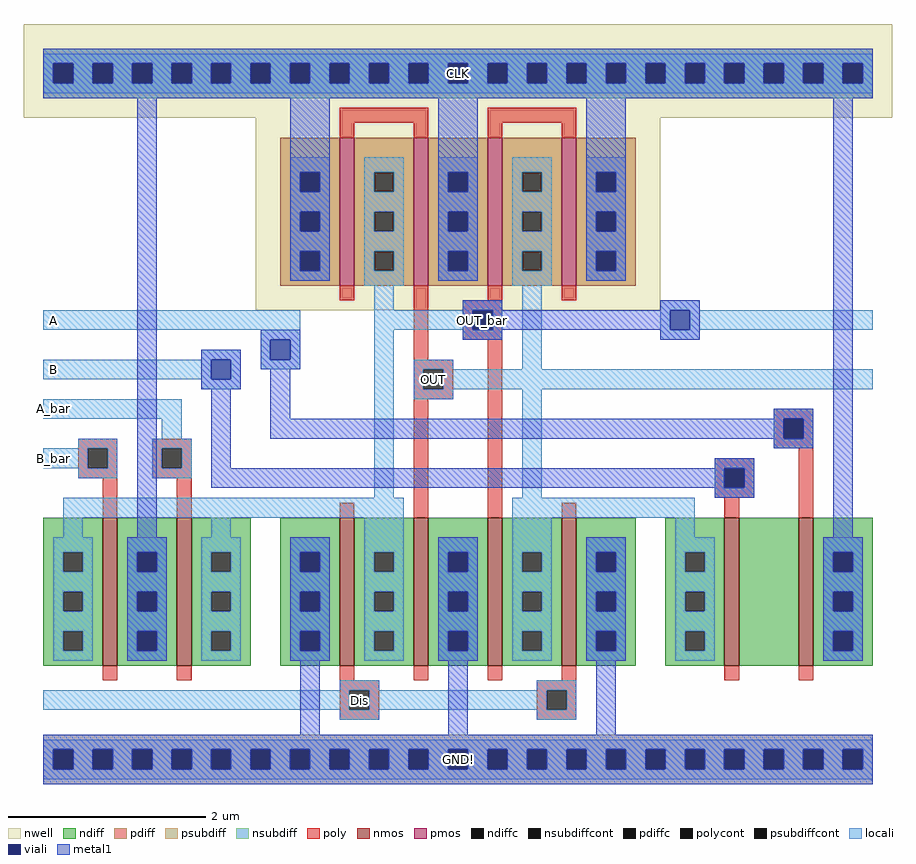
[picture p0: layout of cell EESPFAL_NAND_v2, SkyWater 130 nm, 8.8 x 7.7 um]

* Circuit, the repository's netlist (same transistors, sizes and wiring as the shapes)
* SPICE3 file created from EESPFAL_NAND_v2.ext - technology: sky130A

.subckt EESPFAL_NAND_v2 A A_bar B B_bar OUT OUT_bar Dis GND CLK
X0 CLK A a_1110_410# GND sky130_fd_pr__nfet_01v8 ad=6e+12p pd=2.62e+07u as=0p ps=0u w=1.5e+06u l=150000u
X1 CLK OUT OUT_bar CLK sky130_fd_pr__pfet_01v8 ad=2.7e+12p pd=1.26e+07u as=9e+11p ps=4.2e+06u w=1.5e+06u l=150000u M=2
X2 OUT OUT_bar CLK CLK sky130_fd_pr__pfet_01v8 ad=9e+11p pd=4.2e+06u as=0p ps=0u w=1.5e+06u l=150000u M=2
X3 OUT_bar A_bar CLK GND sky130_fd_pr__nfet_01v8 ad=2.7e+12p pd=1.26e+07u as=0p ps=0u w=1.5e+06u l=150000u
X4 a_1110_410# B OUT GND sky130_fd_pr__nfet_01v8 ad=0p pd=0u as=1.8e+12p ps=8.4e+06u w=1.5e+06u l=150000u
X5 OUT_bar Dis GND GND sky130_fd_pr__nfet_01v8 ad=0p pd=0u as=2.7e+12p ps=1.26e+07u w=1.5e+06u l=150000u
X6 OUT OUT_bar GND GND sky130_fd_pr__nfet_01v8 ad=0p pd=0u as=0p ps=0u w=1.5e+06u l=150000u
X7 GND OUT OUT_bar GND sky130_fd_pr__nfet_01v8 ad=0p pd=0u as=0p ps=0u w=1.5e+06u l=150000u
X8 CLK B_bar OUT_bar GND sky130_fd_pr__nfet_01v8 ad=0p pd=0u as=0p ps=0u w=1.5e+06u l=150000u
X9 GND Dis OUT GND sky130_fd_pr__nfet_01v8 ad=0p pd=0u as=0p ps=0u w=1.5e+06u l=150000u
.ends

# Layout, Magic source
magic
tech sky130A
<< nwell >>
rect -170 760 710 855
rect 65 565 475 760
<< nmos >>
rect -90 205 -75 355
rect -15 205 0 355
rect 150 205 165 355
rect 225 205 240 355
rect 300 205 315 355
rect 375 205 390 355
rect 540 205 555 355
rect 615 205 630 355
<< pmos >>
rect 150 590 165 740
rect 225 590 240 740
rect 300 590 315 740
rect 375 590 390 740
<< ndiff >>
rect -150 320 -90 355
rect -150 300 -130 320
rect -110 300 -90 320
rect -150 280 -90 300
rect -150 260 -130 280
rect -110 260 -90 280
rect -150 240 -90 260
rect -150 220 -130 240
rect -110 220 -90 240
rect -150 205 -90 220
rect -75 320 -15 355
rect -75 300 -55 320
rect -35 300 -15 320
rect -75 280 -15 300
rect -75 260 -55 280
rect -35 260 -15 280
rect -75 240 -15 260
rect -75 220 -55 240
rect -35 220 -15 240
rect -75 205 -15 220
rect 0 320 60 355
rect 0 300 20 320
rect 40 300 60 320
rect 0 280 60 300
rect 0 260 20 280
rect 40 260 60 280
rect 0 240 60 260
rect 0 220 20 240
rect 40 220 60 240
rect 0 205 60 220
rect 90 320 150 355
rect 90 300 110 320
rect 130 300 150 320
rect 90 280 150 300
rect 90 260 110 280
rect 130 260 150 280
rect 90 240 150 260
rect 90 220 110 240
rect 130 220 150 240
rect 90 205 150 220
rect 165 320 225 355
rect 165 300 185 320
rect 205 300 225 320
rect 165 280 225 300
rect 165 260 185 280
rect 205 260 225 280
rect 165 240 225 260
rect 165 220 185 240
rect 205 220 225 240
rect 165 205 225 220
rect 240 320 300 355
rect 240 300 260 320
rect 280 300 300 320
rect 240 280 300 300
rect 240 260 260 280
rect 280 260 300 280
rect 240 240 300 260
rect 240 220 260 240
rect 280 220 300 240
rect 240 205 300 220
rect 315 320 375 355
rect 315 300 335 320
rect 355 300 375 320
rect 315 280 375 300
rect 315 260 335 280
rect 355 260 375 280
rect 315 240 375 260
rect 315 220 335 240
rect 355 220 375 240
rect 315 205 375 220
rect 390 320 450 355
rect 390 300 410 320
rect 430 300 450 320
rect 390 280 450 300
rect 390 260 410 280
rect 430 260 450 280
rect 390 240 450 260
rect 390 220 410 240
rect 430 220 450 240
rect 390 205 450 220
rect 480 320 540 355
rect 480 300 500 320
rect 520 300 540 320
rect 480 280 540 300
rect 480 260 500 280
rect 520 260 540 280
rect 480 240 540 260
rect 480 220 500 240
rect 520 220 540 240
rect 480 205 540 220
rect 555 205 615 355
rect 630 320 690 355
rect 630 300 650 320
rect 670 300 690 320
rect 630 280 690 300
rect 630 260 650 280
rect 670 260 690 280
rect 630 240 690 260
rect 630 220 650 240
rect 670 220 690 240
rect 630 205 690 220
<< pdiff >>
rect 90 705 150 740
rect 90 685 110 705
rect 130 685 150 705
rect 90 665 150 685
rect 90 645 110 665
rect 130 645 150 665
rect 90 625 150 645
rect 90 605 110 625
rect 130 605 150 625
rect 90 590 150 605
rect 165 705 225 740
rect 165 685 185 705
rect 205 685 225 705
rect 165 665 225 685
rect 165 645 185 665
rect 205 645 225 665
rect 165 625 225 645
rect 165 605 185 625
rect 205 605 225 625
rect 165 590 225 605
rect 240 705 300 740
rect 240 685 260 705
rect 280 685 300 705
rect 240 665 300 685
rect 240 645 260 665
rect 280 645 300 665
rect 240 625 300 645
rect 240 605 260 625
rect 280 605 300 625
rect 240 590 300 605
rect 315 705 375 740
rect 315 685 335 705
rect 355 685 375 705
rect 315 665 375 685
rect 315 645 335 665
rect 355 645 375 665
rect 315 625 375 645
rect 315 605 335 625
rect 355 605 375 625
rect 315 590 375 605
rect 390 705 450 740
rect 390 685 410 705
rect 430 685 450 705
rect 390 665 450 685
rect 390 645 410 665
rect 430 645 450 665
rect 390 625 450 645
rect 390 605 410 625
rect 430 605 450 625
rect 390 590 450 605
<< ndiffc >>
rect -130 300 -110 320
rect -130 260 -110 280
rect -130 220 -110 240
rect -55 300 -35 320
rect -55 260 -35 280
rect -55 220 -35 240
rect 20 300 40 320
rect 20 260 40 280
rect 20 220 40 240
rect 110 300 130 320
rect 110 260 130 280
rect 110 220 130 240
rect 185 300 205 320
rect 185 260 205 280
rect 185 220 205 240
rect 260 300 280 320
rect 260 260 280 280
rect 260 220 280 240
rect 335 300 355 320
rect 335 260 355 280
rect 335 220 355 240
rect 410 300 430 320
rect 410 260 430 280
rect 410 220 430 240
rect 500 300 520 320
rect 500 260 520 280
rect 500 220 520 240
rect 650 300 670 320
rect 650 260 670 280
rect 650 220 670 240
<< pdiffc >>
rect 110 685 130 705
rect 110 645 130 665
rect 110 605 130 625
rect 185 685 205 705
rect 185 645 205 665
rect 185 605 205 625
rect 260 685 280 705
rect 260 645 280 665
rect 260 605 280 625
rect 335 685 355 705
rect 335 645 355 665
rect 335 605 355 625
rect 410 685 430 705
rect 410 645 430 665
rect 410 605 430 625
<< psubdiff >>
rect -150 120 690 135
rect -150 100 -140 120
rect -120 100 -100 120
rect -80 100 -60 120
rect -40 100 -20 120
rect 0 100 20 120
rect 40 100 60 120
rect 80 100 100 120
rect 120 100 140 120
rect 160 100 180 120
rect 200 100 220 120
rect 240 100 260 120
rect 280 100 300 120
rect 320 100 340 120
rect 360 100 380 120
rect 400 100 420 120
rect 440 100 460 120
rect 480 100 500 120
rect 520 100 540 120
rect 560 100 580 120
rect 600 100 620 120
rect 640 100 660 120
rect 680 100 690 120
rect -150 85 690 100
<< nsubdiff >>
rect -150 815 690 830
rect -150 795 -140 815
rect -120 795 -100 815
rect -80 795 -60 815
rect -40 795 -20 815
rect 0 795 20 815
rect 40 795 60 815
rect 80 795 100 815
rect 120 795 140 815
rect 160 795 180 815
rect 200 795 220 815
rect 240 795 260 815
rect 280 795 300 815
rect 320 795 340 815
rect 360 795 380 815
rect 400 795 420 815
rect 440 795 460 815
rect 480 795 500 815
rect 520 795 540 815
rect 560 795 580 815
rect 600 795 620 815
rect 640 795 660 815
rect 680 795 690 815
rect -150 780 690 795
<< psubdiffcont >>
rect -140 100 -120 120
rect -100 100 -80 120
rect -60 100 -40 120
rect -20 100 0 120
rect 20 100 40 120
rect 60 100 80 120
rect 100 100 120 120
rect 140 100 160 120
rect 180 100 200 120
rect 220 100 240 120
rect 260 100 280 120
rect 300 100 320 120
rect 340 100 360 120
rect 380 100 400 120
rect 420 100 440 120
rect 460 100 480 120
rect 500 100 520 120
rect 540 100 560 120
rect 580 100 600 120
rect 620 100 640 120
rect 660 100 680 120
<< nsubdiffcont >>
rect -140 795 -120 815
rect -100 795 -80 815
rect -60 795 -40 815
rect -20 795 0 815
rect 20 795 40 815
rect 60 795 80 815
rect 100 795 120 815
rect 140 795 160 815
rect 180 795 200 815
rect 220 795 240 815
rect 260 795 280 815
rect 300 795 320 815
rect 340 795 360 815
rect 380 795 400 815
rect 420 795 440 815
rect 460 795 480 815
rect 500 795 520 815
rect 540 795 560 815
rect 580 795 600 815
rect 620 795 640 815
rect 660 795 680 815
<< poly >>
rect 150 755 240 770
rect 150 740 165 755
rect 225 740 240 755
rect 300 755 390 770
rect 300 740 315 755
rect 375 740 390 755
rect 150 575 165 590
rect 225 515 240 590
rect 300 575 315 590
rect 375 575 390 590
rect 275 565 315 575
rect 275 545 285 565
rect 305 545 315 565
rect 275 535 315 545
rect 225 505 265 515
rect 225 485 235 505
rect 255 485 265 505
rect 225 475 265 485
rect -115 425 -75 435
rect -115 405 -105 425
rect -85 405 -75 425
rect -115 395 -75 405
rect -40 425 0 435
rect -40 405 -30 425
rect -10 405 0 425
rect -40 395 0 405
rect -90 355 -75 395
rect -15 355 0 395
rect 150 355 165 370
rect 225 355 240 475
rect 300 355 315 535
rect 590 455 630 465
rect 590 435 600 455
rect 620 435 630 455
rect 590 425 630 435
rect 530 405 570 415
rect 530 385 540 405
rect 560 385 570 405
rect 530 375 570 385
rect 375 355 390 370
rect 540 355 555 375
rect 615 355 630 425
rect -90 190 -75 205
rect -15 190 0 205
rect 150 190 165 205
rect 225 190 240 205
rect 300 190 315 205
rect 375 190 390 205
rect 540 190 555 205
rect 615 190 630 205
rect 150 180 190 190
rect 150 160 160 180
rect 180 160 190 180
rect 150 150 190 160
rect 350 180 390 190
rect 350 160 360 180
rect 380 160 390 180
rect 350 150 390 160
<< polycont >>
rect 285 545 305 565
rect 235 485 255 505
rect -105 405 -85 425
rect -30 405 -10 425
rect 600 435 620 455
rect 540 385 560 405
rect 160 160 180 180
rect 360 160 380 180
<< locali >>
rect -150 815 690 825
rect -150 795 -140 815
rect -120 795 -100 815
rect -80 795 -60 815
rect -40 795 -20 815
rect 0 795 20 815
rect 40 795 60 815
rect 80 795 100 815
rect 120 795 140 815
rect 160 795 180 815
rect 200 795 220 815
rect 240 795 260 815
rect 280 795 300 815
rect 320 795 340 815
rect 360 795 380 815
rect 400 795 420 815
rect 440 795 460 815
rect 480 795 500 815
rect 520 795 540 815
rect 560 795 580 815
rect 600 795 620 815
rect 640 795 660 815
rect 680 795 690 815
rect -150 785 690 795
rect 100 705 140 720
rect 100 685 110 705
rect 130 685 140 705
rect 100 665 140 685
rect 100 645 110 665
rect 130 645 140 665
rect 100 625 140 645
rect 100 605 110 625
rect 130 605 140 625
rect 100 595 140 605
rect 175 705 215 720
rect 175 685 185 705
rect 205 685 215 705
rect 175 665 215 685
rect 175 645 185 665
rect 205 645 215 665
rect 175 625 215 645
rect 175 605 185 625
rect 205 605 215 625
rect 175 590 215 605
rect 250 705 290 720
rect 250 685 260 705
rect 280 685 290 705
rect 250 665 290 685
rect 250 645 260 665
rect 280 645 290 665
rect 250 625 290 645
rect 250 605 260 625
rect 280 605 290 625
rect 250 595 290 605
rect 325 705 365 720
rect 325 685 335 705
rect 355 685 365 705
rect 325 665 365 685
rect 325 645 335 665
rect 355 645 365 665
rect 325 625 365 645
rect 325 605 335 625
rect 355 605 365 625
rect 325 590 365 605
rect 400 705 440 720
rect 400 685 410 705
rect 430 685 440 705
rect 400 665 440 685
rect 400 645 410 665
rect 430 645 440 665
rect 400 625 440 645
rect 400 605 410 625
rect 430 605 440 625
rect 400 595 440 605
rect 185 565 205 590
rect 275 565 315 575
rect -150 545 110 565
rect 70 535 110 545
rect 10 515 50 525
rect -150 495 20 515
rect 40 495 50 515
rect 70 515 80 535
rect 100 515 110 535
rect 70 505 110 515
rect 185 545 285 565
rect 305 545 315 565
rect 10 485 50 495
rect -150 455 -10 475
rect -30 435 -10 455
rect -115 425 -75 435
rect -150 405 -105 425
rect -85 405 -75 425
rect -115 395 -75 405
rect -40 425 0 435
rect -40 405 -30 425
rect -10 405 0 425
rect -40 395 0 405
rect 185 375 205 545
rect 275 535 315 545
rect 225 505 265 515
rect 335 505 355 590
rect 475 565 515 575
rect 475 545 485 565
rect 505 545 690 565
rect 475 535 515 545
rect 225 485 235 505
rect 255 485 690 505
rect 225 475 265 485
rect 335 375 355 485
rect 590 455 630 465
rect 590 435 600 455
rect 620 435 630 455
rect 590 425 630 435
rect 530 405 570 415
rect 530 385 540 405
rect 560 385 570 405
rect 530 375 570 385
rect -130 355 215 375
rect -130 335 -110 355
rect 20 335 40 355
rect -140 320 -100 335
rect -140 300 -130 320
rect -110 300 -100 320
rect -140 280 -100 300
rect -140 260 -130 280
rect -110 260 -100 280
rect -140 240 -100 260
rect -140 220 -130 240
rect -110 220 -100 240
rect -140 210 -100 220
rect -65 320 -25 335
rect -65 300 -55 320
rect -35 300 -25 320
rect -65 280 -25 300
rect -65 260 -55 280
rect -35 260 -25 280
rect -65 240 -25 260
rect -65 220 -55 240
rect -35 220 -25 240
rect -65 210 -25 220
rect 10 320 50 335
rect 10 300 20 320
rect 40 300 50 320
rect 10 280 50 300
rect 10 260 20 280
rect 40 260 50 280
rect 10 240 50 260
rect 10 220 20 240
rect 40 220 50 240
rect 10 210 50 220
rect 100 320 140 335
rect 100 300 110 320
rect 130 300 140 320
rect 100 280 140 300
rect 100 260 110 280
rect 130 260 140 280
rect 100 240 140 260
rect 100 220 110 240
rect 130 220 140 240
rect 100 210 140 220
rect 175 320 215 355
rect 325 355 510 375
rect 175 300 185 320
rect 205 300 215 320
rect 175 280 215 300
rect 175 260 185 280
rect 205 260 215 280
rect 175 240 215 260
rect 175 220 185 240
rect 205 220 215 240
rect 175 210 215 220
rect 250 320 290 335
rect 250 300 260 320
rect 280 300 290 320
rect 250 280 290 300
rect 250 260 260 280
rect 280 260 290 280
rect 250 240 290 260
rect 250 220 260 240
rect 280 220 290 240
rect 250 210 290 220
rect 325 320 365 355
rect 490 335 510 355
rect 325 300 335 320
rect 355 300 365 320
rect 325 280 365 300
rect 325 260 335 280
rect 355 260 365 280
rect 325 240 365 260
rect 325 220 335 240
rect 355 220 365 240
rect 325 210 365 220
rect 400 320 440 335
rect 400 300 410 320
rect 430 300 440 320
rect 400 280 440 300
rect 400 260 410 280
rect 430 260 440 280
rect 400 240 440 260
rect 400 220 410 240
rect 430 220 440 240
rect 400 210 440 220
rect 490 320 530 335
rect 490 300 500 320
rect 520 300 530 320
rect 490 280 530 300
rect 490 260 500 280
rect 520 260 530 280
rect 490 240 530 260
rect 490 220 500 240
rect 520 220 530 240
rect 490 210 530 220
rect 640 320 680 335
rect 640 300 650 320
rect 670 300 680 320
rect 640 280 680 300
rect 640 260 650 280
rect 670 260 680 280
rect 640 240 680 260
rect 640 220 650 240
rect 670 220 680 240
rect 640 210 680 220
rect 150 180 190 190
rect 350 180 390 190
rect -150 160 160 180
rect 180 160 360 180
rect 380 160 390 180
rect 150 150 190 160
rect 350 150 390 160
rect -150 120 690 130
rect -150 100 -140 120
rect -120 100 -100 120
rect -80 100 -60 120
rect -40 100 -20 120
rect 0 100 20 120
rect 40 100 60 120
rect 80 100 100 120
rect 120 100 140 120
rect 160 100 180 120
rect 200 100 220 120
rect 240 100 260 120
rect 280 100 300 120
rect 320 100 340 120
rect 360 100 380 120
rect 400 100 420 120
rect 440 100 460 120
rect 480 100 500 120
rect 520 100 540 120
rect 560 100 580 120
rect 600 100 620 120
rect 640 100 660 120
rect 680 100 690 120
rect -150 90 690 100
<< viali >>
rect -140 795 -120 815
rect -100 795 -80 815
rect -60 795 -40 815
rect -20 795 0 815
rect 20 795 40 815
rect 60 795 80 815
rect 100 795 120 815
rect 140 795 160 815
rect 180 795 200 815
rect 220 795 240 815
rect 260 795 280 815
rect 300 795 320 815
rect 340 795 360 815
rect 380 795 400 815
rect 420 795 440 815
rect 460 795 480 815
rect 500 795 520 815
rect 540 795 560 815
rect 580 795 600 815
rect 620 795 640 815
rect 660 795 680 815
rect 110 685 130 705
rect 110 645 130 665
rect 110 605 130 625
rect 260 685 280 705
rect 260 645 280 665
rect 260 605 280 625
rect 410 685 430 705
rect 410 645 430 665
rect 410 605 430 625
rect 20 495 40 515
rect 80 515 100 535
rect 285 545 305 565
rect 485 545 505 565
rect 600 435 620 455
rect 540 385 560 405
rect -55 300 -35 320
rect -55 260 -35 280
rect -55 220 -35 240
rect 110 300 130 320
rect 110 260 130 280
rect 110 220 130 240
rect 260 300 280 320
rect 260 260 280 280
rect 260 220 280 240
rect 410 300 430 320
rect 410 260 430 280
rect 410 220 430 240
rect 650 300 670 320
rect 650 260 670 280
rect 650 220 670 240
rect -140 100 -120 120
rect -100 100 -80 120
rect -60 100 -40 120
rect -20 100 0 120
rect 20 100 40 120
rect 60 100 80 120
rect 100 100 120 120
rect 140 100 160 120
rect 180 100 200 120
rect 220 100 240 120
rect 260 100 280 120
rect 300 100 320 120
rect 340 100 360 120
rect 380 100 400 120
rect 420 100 440 120
rect 460 100 480 120
rect 500 100 520 120
rect 540 100 560 120
rect 580 100 600 120
rect 620 100 640 120
rect 660 100 680 120
<< metal1 >>
rect -150 815 690 830
rect -150 795 -140 815
rect -120 795 -100 815
rect -80 795 -60 815
rect -40 795 -20 815
rect 0 795 20 815
rect 40 795 60 815
rect 80 795 100 815
rect 120 795 140 815
rect 160 795 180 815
rect 200 795 220 815
rect 240 795 260 815
rect 280 795 300 815
rect 320 795 340 815
rect 360 795 380 815
rect 400 795 420 815
rect 440 795 460 815
rect 480 795 500 815
rect 520 795 540 815
rect 560 795 580 815
rect 600 795 620 815
rect 640 795 660 815
rect 680 795 690 815
rect -150 780 690 795
rect -55 335 -35 780
rect 100 705 140 780
rect 100 685 110 705
rect 130 685 140 705
rect 100 665 140 685
rect 100 645 110 665
rect 130 645 140 665
rect 100 625 140 645
rect 100 605 110 625
rect 130 605 140 625
rect 100 595 140 605
rect 250 705 290 780
rect 250 685 260 705
rect 280 685 290 705
rect 250 665 290 685
rect 250 645 260 665
rect 280 645 290 665
rect 250 625 290 645
rect 250 605 260 625
rect 280 605 290 625
rect 250 595 290 605
rect 400 705 440 780
rect 400 685 410 705
rect 430 685 440 705
rect 400 665 440 685
rect 400 645 410 665
rect 430 645 440 665
rect 400 625 440 645
rect 400 605 410 625
rect 430 605 440 625
rect 400 595 440 605
rect 275 565 315 575
rect 475 565 515 575
rect 275 545 285 565
rect 305 545 485 565
rect 505 545 515 565
rect 70 535 110 545
rect 275 535 315 545
rect 475 535 515 545
rect 10 515 50 525
rect 10 495 20 515
rect 40 495 50 515
rect 70 515 80 535
rect 100 515 110 535
rect 70 505 110 515
rect 10 485 50 495
rect 20 405 40 485
rect 80 455 100 505
rect 590 455 630 465
rect 80 435 600 455
rect 620 435 630 455
rect 590 425 630 435
rect 530 405 570 415
rect 20 385 540 405
rect 560 385 570 405
rect 530 375 570 385
rect 650 335 670 780
rect -65 320 -25 335
rect -65 300 -55 320
rect -35 300 -25 320
rect -65 280 -25 300
rect -65 260 -55 280
rect -35 260 -25 280
rect -65 240 -25 260
rect -65 220 -55 240
rect -35 220 -25 240
rect -65 210 -25 220
rect 100 320 140 335
rect 100 300 110 320
rect 130 300 140 320
rect 100 280 140 300
rect 100 260 110 280
rect 130 260 140 280
rect 100 240 140 260
rect 100 220 110 240
rect 130 220 140 240
rect 100 210 140 220
rect 250 320 290 335
rect 250 300 260 320
rect 280 300 290 320
rect 250 280 290 300
rect 250 260 260 280
rect 280 260 290 280
rect 250 240 290 260
rect 250 220 260 240
rect 280 220 290 240
rect 250 210 290 220
rect 400 320 440 335
rect 400 300 410 320
rect 430 300 440 320
rect 400 280 440 300
rect 400 260 410 280
rect 430 260 440 280
rect 400 240 440 260
rect 400 220 410 240
rect 430 220 440 240
rect 400 210 440 220
rect 640 320 680 335
rect 640 300 650 320
rect 670 300 680 320
rect 640 280 680 300
rect 640 260 650 280
rect 670 260 680 280
rect 640 240 680 260
rect 640 220 650 240
rect 670 220 680 240
rect 640 210 680 220
rect 110 135 130 210
rect 260 135 280 210
rect 410 135 430 210
rect -150 120 690 135
rect -150 100 -140 120
rect -120 100 -100 120
rect -80 100 -60 120
rect -40 100 -20 120
rect 0 100 20 120
rect 40 100 60 120
rect 80 100 100 120
rect 120 100 140 120
rect 160 100 180 120
rect 200 100 220 120
rect 240 100 260 120
rect 280 100 300 120
rect 320 100 340 120
rect 360 100 380 120
rect 400 100 420 120
rect 440 100 460 120
rect 480 100 500 120
rect 520 100 540 120
rect 560 100 580 120
rect 600 100 620 120
rect 640 100 660 120
rect 680 100 690 120
rect -150 85 690 100
<< labels >>
rlabel locali -145 550 -135 560 7 A
port 1 w
rlabel locali -145 500 -135 510 7 B
port 3 w
rlabel locali -145 410 -135 420 7 B_bar
port 4 w
rlabel locali -145 460 -135 470 7 A_bar
port 2 w
rlabel viali 285 545 305 565 7 OUT_bar
port 6 w
rlabel locali 235 485 255 505 7 OUT
port 5 w
rlabel locali 160 160 180 180 7 Dis
port 7 w
rlabel metal1 260 795 280 815 7 CLK
port 9 w
rlabel metal1 260 100 280 120 7 GND!
port 8 w
<< end >>
